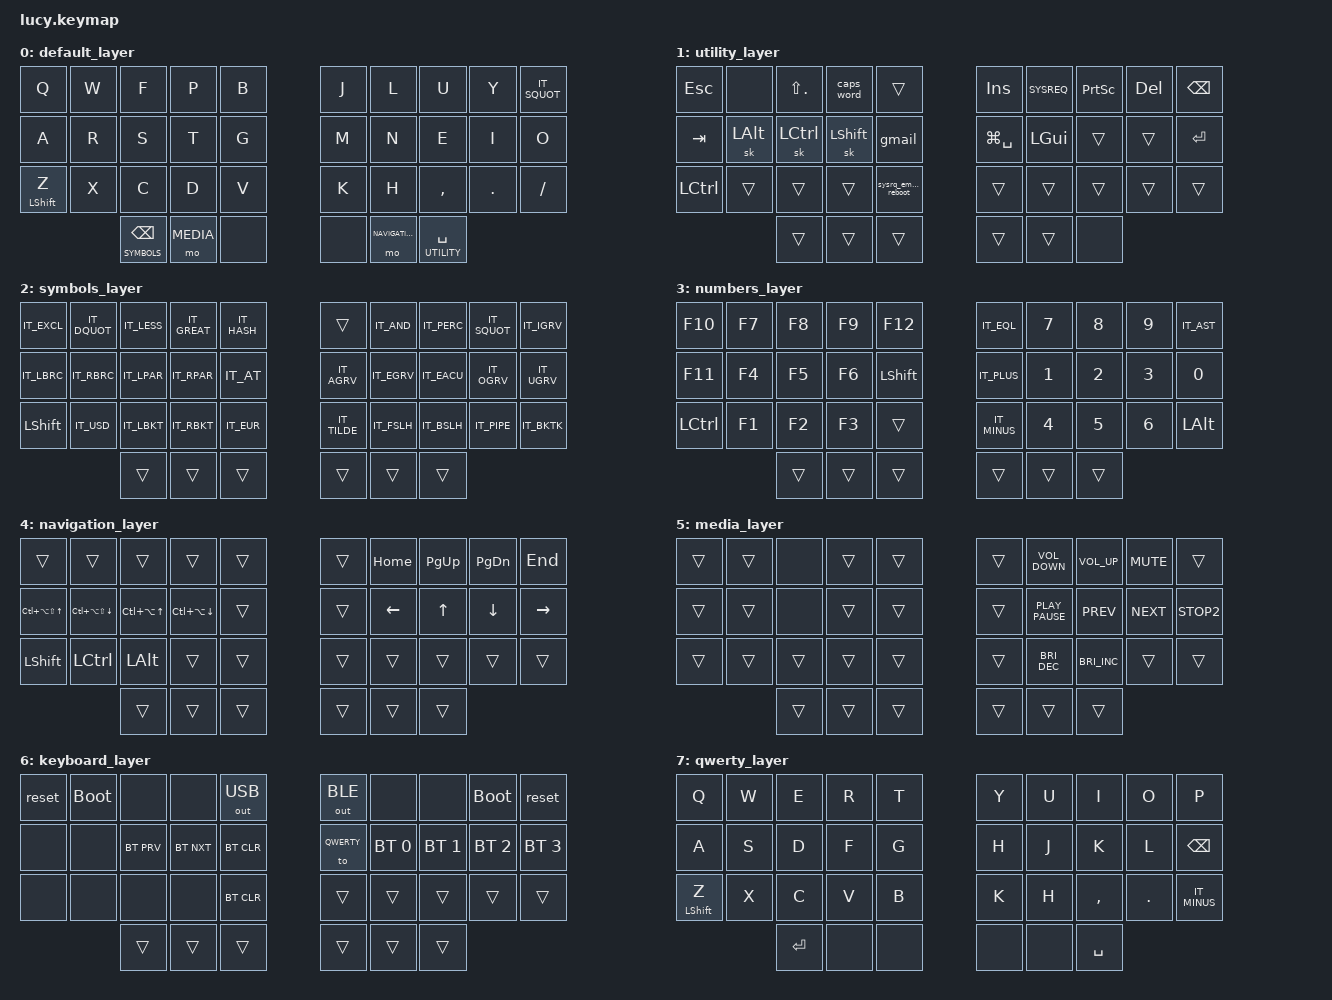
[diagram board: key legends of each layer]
/*
 * Copyright (c) 2020 The ZMK Contributors
 *
 * SPDX-License-Identifier: MIT
 */

#include "./boards/shields/lucy/italian.keycodes"

#include <behaviors.dtsi>
#include <dt-bindings/zmk/keys.h>
#include <dt-bindings/zmk/outputs.h>
#include <dt-bindings/zmk/bt.h>

#define DEFAULT                 0

#define UTILITY                 1

#define SYMBOLS                 2

#define NUMBERS                 3

#define NAVIGATION              4

#define MEDIA                   5

#define KEYBOARD                6

#define QWERTY                  7

&mt {
    //tapping-term-ms = <300>;
    //quick_tap_ms = <0>;
    //flavor = "tap-preferred";
    //retro-tap;
};

// corregge il problema nell'uso di enter quando premo velocemente il tasto
// tuttavia ora mi sono reso conto che questo sta producendo alcuni errori quando premuto per fare lo spazio
&lt {
        compatible = "zmk,behavior-hold-tap";
        label = "layer_toggle_with_hold_preferred";
        #binding-cells = <2>;
        flavor = "balanced";
        tapping-term-ms = <200>;
        //quick-tap-ms = <125>;
        global-quick-tap;
        bindings = <&mo>, <&kp>;
};

/ {


    conditional_layers {
        compatible = "zmk,conditional-layers";

        tri_number_layer {
            if-layers = <1 2>;
            then-layer = <3>;
        };

        tri_keyboard_layer {
            if-layers = <4 5>;
            then-layer = <6>;
        };
    };


    macros {
           gmail: gmail {
               label = "gmail_email";
               compatible = "zmk,behavior-macro";
               #binding-cells = <0>;
               wait-ms = <30>;
               tap-ms = <40>;
               bindings
                   = <
                   &kp S &kp A &kp B &kp B &kp I &kp O
                   >
                   ;
           };

           sysrq_emergency_reboot: sysrq_emergency_reboot {
               label = "reboot_system_with_SysRq";
               compatible = "zmk,behavior-macro";
               #binding-cells = <0>;
               wait-ms = <500>;
               tap-ms = <40>;
               bindings
                   = <&macro_press &kp LALT>
                   , <&macro_press &kp SYSREQ>
                   , <&macro_tap &kp R &kp E &kp I &kp S &kp U &kp B>
                   , <&macro_release &kp LALT>
                   , <&macro_release &kp SYSREQ>
                   ;
           };
       };

    combos {
        compatible = "zmk,combos";

        // Get back to default layer
        escape_qwerty {
            timeout-ms = <50>;
            layers= <QWERTY>;
            key-positions = <0 18>;
            bindings = <&to DEFAULT>;
        };
   };

// RIGHT NOW IT IS MEANT TO BE USED WITH THE ITALIAN QWERTY LAYOUT
// MODIFIED FERRIS LAYOUT
// https://github.com/qmk/qmk_firmware/tree/master/keyboards/ferris/keymaps/default

        keymap {
                compatible = "zmk,keymap";

//  DEFAULT LAYER WITH COLEMAK-DH
// TODO: i modificatori li metto come one shot in utility
// autoshift? potrebbe andare bene però perdo la capacità di avere 4 simboli sui 2 tasti del mignolo
       		default_layer {
		bindings = <
		&kp Q &kp W &kp F &kp P &kp B 						        &kp J &kp L  &kp U    &kp Y   &kp IT_SQUOT
		&kp A &kp R &kp S &kp T &kp G 			                    &kp M &kp N &kp E &kp I &kp O
		&mt LSHFT Z &kp X &kp C &kp D &kp V				            &kp K &kp H  &kp CMMA &kp DOT &kp SLASH
          	    &lt SYMBOLS BKSP &mo MEDIA &none  		            &none &mo NAVIGATION &lt UTILITY SPC
		>;
		};


// UTILITY
// posso pensare di spostare i tasti più usati sugli indici, per esempio ESC e TAB, che ora ho messo in posizioni simili a quelle
// che hanno in una tastiera tradizionale
// TODO: posso pensare di spostare alcuni simboli molto usati in questo layer, tipo quelli usati per navigare nella shell
		    utility_layer {
		bindings = <
		&kp ESC &none &kp LS(DOT) &caps_word &trans            			&kp INSERT &kp SYSREQ &kp PRINTSCREEN &kp DEL &kp BKSP
		&kp TAB &sk LALT &sk LCTRL &sk LSHIFT &gmail                   	&kp LG(SPC) &kp LGUI  &trans &trans &kp RET
		&kp LCTRL &trans &trans &trans &sysrq_emergency_reboot		            &trans &trans &trans &trans &trans
					&trans &trans &trans  					    &trans &trans &none
		>;
		};

// SYMBOLS
// posso valutare l'uso dello shift così da avere tutto insieme
//TODO: simboli che mancano
// IT_PND
       	    symbols_layer {
		bindings = <
	    &kp IT_EXCL &kp IT_DQUOT &kp IT_LESS &kp IT_GREAT &kp IT_HASH    	                        &trans &kp IT_AND &kp IT_PERC &kp IT_SQUOT &kp IT_IGRV
		&kp IT_LBRC &kp IT_RBRC &kp IT_LPAR &kp IT_RPAR &kp IT_AT                                   &kp IT_AGRV &kp IT_EGRV &kp IT_EACU &kp IT_OGRV &kp IT_UGRV
		&kp LSHIFT    &kp IT_USD &kp IT_LBKT &kp IT_RBKT  &kp IT_EUR	                            &kp IT_TILDE &kp IT_FSLH &kp IT_BSLH &kp IT_PIPE  &kp IT_BKTK
					                &trans  &trans &trans    			                            &trans &trans &trans
		>;
		};

// NUMBERS AND FUNCTIONS
// quì ho messo il tastierino numerico con gli operatori e le Function keys. Alt e Ctrl servono per switchare terminali con ctrl+alt+f7
// ma anche per alt+f4
		    numbers_layer {
		bindings = <
		&kp F10  &kp F7 &kp F8 &kp F9  &kp F12    	            	    &kp IT_EQL &kp N7  &kp N8  &kp  N9 &kp IT_AST
		&kp F11 &kp F4 &kp F5 &kp F6 &kp LSHIFT                         &kp IT_PLUS &kp N1  &kp N2  &kp N3 &kp N0
		&kp LCTRL &kp F1 &kp F2 &kp F3 &trans    			            &kp IT_MINUS &kp N4 &kp N5 &kp N6 &kp LALT
					           &trans  &trans &trans  			        &trans &trans &trans
		>;
		};

// NAVIGATION LAYER
// TODO: sul lato sinistro ci sono i tasti per cambiare desktop virtuale e per spostare le finestre
// quì posso ancora aggiungere un sacco di cose, magari i tasti per il mouse più avanti
		    navigation_layer {
		bindings = <
		&trans &trans &trans &trans &trans           			                                    &trans &kp HOME &kp PAGE_UP &kp PAGE_DOWN &kp END
		&kp LC(LA(LS(UP))) &kp LC(LA(LS(DOWN))) &kp LC(LA(UP)) &kp LC(LA(DOWN)) &trans              &trans &kp LEFT &kp UP &kp DOWN &kp RIGHT
		&kp LSHIFT &kp LCTRL &kp LALT &trans &trans   			                                    &trans &trans  &trans  &trans &trans
					                &trans &trans &trans  			                                &trans &trans &trans
		>;
		};


// MEDIA LAYER
		    media_layer {
		bindings = <
		&trans  &trans &none &trans &trans 			                            &trans &kp K_VOLUME_DOWN   &kp K_VOLUME_UP   &kp K_MUTE  &trans
		&trans  &trans &none &trans &trans  			                        &trans &kp K_PLAY_PAUSE  &kp K_PREV &kp K_NEXT &kp K_STOP2
		&trans  &trans &trans &trans &trans   			                        &trans &kp C_BRIGHTNESS_DEC &kp C_BRIGHTNESS_INC &trans &trans
				            	&trans &trans &trans  					        &trans &trans &trans
		>;
		};

// KEYBOARD LAYER
		    keyboard_layer {
		bindings = <
		&reset  &bootloader &none &none &out OUT_USB 			        &out OUT_BLE &none   &none   &bootloader  &reset
		&none &none &bt BT_PRV &bt BT_NXT &bt BT_CLR  			        &to QWERTY &bt BT_SEL 0  &bt BT_SEL 1 &bt BT_SEL 2 &bt BT_SEL 3
		&none  &none &none &none &bt BT_CLR   				            &trans &trans &trans &trans &trans
				            	&trans &trans &trans  					&trans &trans &trans
		>;
		};

//  QWERTY, mainly for gaming
       		qwerty_layer {
		bindings = <
		&kp Q &kp W &kp E &kp R  &kp T 						&kp Y &kp U  &kp I &kp O &kp P
		&kp A &kp S &kp D &kp F &kp G 			        	&kp H &kp J &kp K &kp L &kp BKSP
		&mt LSHFT Z &kp X &kp C &kp V &kp B				    &kp K &kp H  &kp CMMA &kp DOT &kp IT_MINUS
          				&kp RET &none &none   		        &none &none &kp SPC
		>;
		};

	};
};
